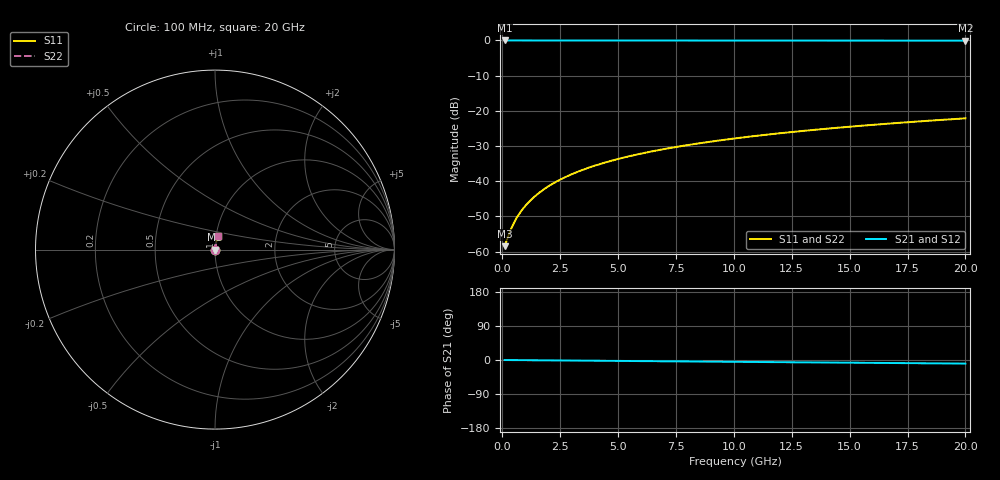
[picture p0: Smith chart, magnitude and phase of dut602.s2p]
! Touchstone file exported from HFSS 2026.1.0
!  File:  C:/ffzhzh/LocalFiles/Ansys_Project_Files/temp_train_TMRDL_602_1783008635_4048.aedt
!  Generated:  12:12:00 AM Jul  3, 2026
!  Design:  TMRDL
!  Project:  temp_train_TMRDL_602_1783008635_4048
! Variables:
!  h_bsmrdl = 2um
!  h_ox = 20um
!  h_rdl = 5um
!  h_sub = 80um
!  h_tmrdl = 3.59um
!  h_tsv = 80um
!  h_via = 3um
!  l_bsmrdl = 300um
!  l_sub = 532.44um
!  l_tmrdl = 132.44um
!  m_sub = 200um
!  pitch = 26.31um
!  r_tsv = 6um
!  s_tmrdl = 10um
!  w_bsmrdl = 18um
!  w_sub = 500um
!  w_tmrdl = 14.32um
!  x_tsv_center1 = 139.6um
!  x_tsv_center2 = 457.6um
!  x_tsv_center3 = 604.36um
!  x_tsv_center4 = 922.36um
!  x_tsv_center5 = 1069.12um
!  x_tsv_center6 = 1387.12um
# GHz S MA R 50.000000
! Terminal data exported
! Port[1] = TM_RDL1_1_T1
! Port[2] = TM_RDL1_1_T2
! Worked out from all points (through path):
!   200 points, 100 MHz to 20 GHz, reference 50 ohm
!   highest |S21| = -0.01 dB at 100 MHz (marker M1); lowest = -0.1 dB at 20 GHz (marker M2)
!   group delay of S21, straight-line fit = 1.31 ps
!   lowest |S11| = -58.5 dB at 100 MHz (marker M3), VSWR 1.00, Z = 50.1 + j0.0476 ohm
!   |S11| at or under -10 dB: start of sweep to end of sweep
!   |S22| runs from -58.5 to -22.1 dB; largest |S21 - S12| = 5.4e-15
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0.1  0.001194 23.4  0.9989 -0.1  0.9989 -0.1  0.001194 23.4
! Gamma 0 0 0 0
! Port Impedance 50 0 50 0
0.3  0.00181 49.6  0.9988 -0.2  0.9988 -0.2  0.00181 49.6
0.4  0.002176 56.1  0.9988 -0.2  0.9988 -0.2  0.002176 56.1
0.5  0.002551 60.6  0.9988 -0.3  0.9988 -0.3  0.002551 60.6
0.6  0.00293 64.0  0.9987 -0.3  0.9987 -0.3  0.00293 64.0
0.7  0.003313 66.6  0.9987 -0.3  0.9987 -0.3  0.003313 66.6
0.9  0.004089 70.5  0.9987 -0.4  0.9987 -0.4  0.004089 70.5
1.2  0.005274 74.3  0.9986 -0.6  0.9986 -0.6  0.005274 74.3
1.4  0.006074 76.0  0.9986 -0.7  0.9986 -0.7  0.006074 76.0
1.7  0.007285 77.9  0.9985 -0.8  0.9985 -0.8  0.007285 77.9
2.2  0.009316 79.8  0.9985 -1.1  0.9985 -1.1  0.009316 79.8
2.8  0.01176 81.0  0.9984 -1.4  0.9984 -1.4  0.01176 81.0
3.5  0.01461 81.7  0.9982 -1.7  0.9982 -1.7  0.01461 81.7
4.2  0.01745 82.1  0.9981 -2.0  0.9981 -2.0  0.01745 82.1
5  0.02068 82.2  0.9979 -2.4  0.9979 -2.4  0.02068 82.2
5.9  0.02429 82.2  0.9976 -2.8  0.9976 -2.8  0.02429 82.2
6.8  0.02786 82.0  0.9973 -3.3  0.9973 -3.3  0.02786 82.0
8.3  0.03376 81.6  0.9968 -4.0  0.9968 -4.0  0.03376 81.6
10.1  0.04076 81.0  0.9962 -4.8  0.9962 -4.8  0.04076 81.0
13.4  0.0534 79.9  0.9951 -6.4  0.9951 -6.4  0.0534 79.8
16.7  0.06586 78.6  0.9938 -7.9  0.9938 -7.9  0.06586 78.6
20  0.0782 77.3  0.9925 -9.4  0.9925 -9.4  0.0782 77.3
